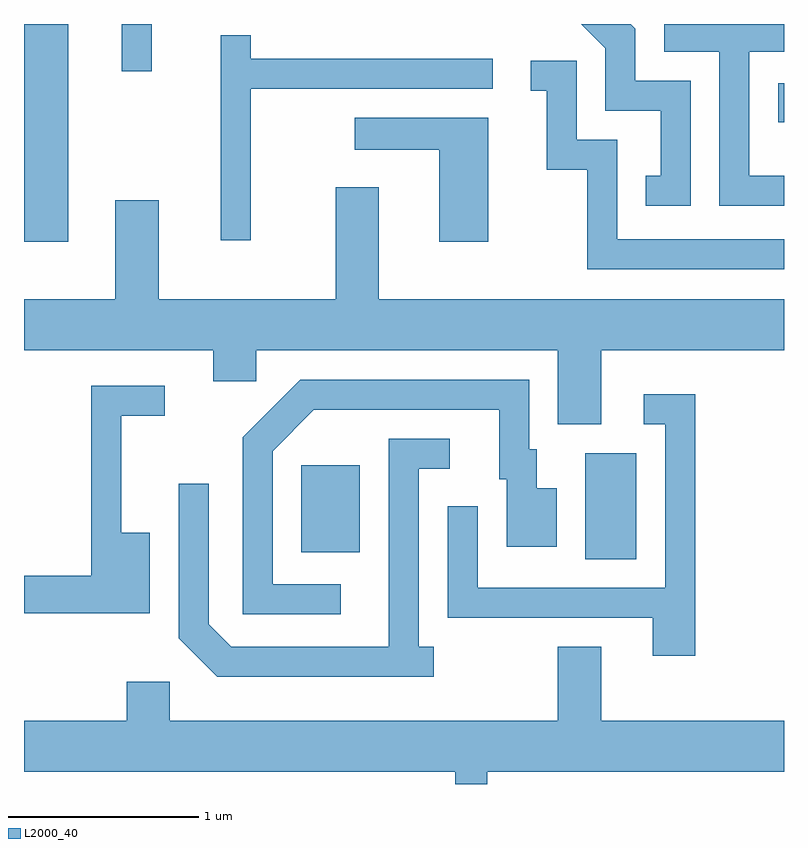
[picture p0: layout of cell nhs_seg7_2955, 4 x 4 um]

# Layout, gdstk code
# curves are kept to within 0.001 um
import gdstk
lib = gdstk.Library(unit=1e-6, precision=1e-09)
def R(c, l, rs):  # rectangles x0, y0, x1, y1
    for r in rs: c.add(gdstk.rectangle(r[:2], r[2:], *l))
def P(c, l, *ps):  # polygons
    for p in ps: c.add(gdstk.Polygon(p, *l))
L2000_40 = (2000, 40)

nhs_seg7_2955 = lib.new_cell('nhs_seg7_2955')
R(nhs_seg7_2955, L2000_40, [(278.566,1715.436,278.834,1715.994), (277.071,1715.471,277.379,1715.929), (275.611,1717.106,275.844,1718.252), (279.581,1717.736,279.611,1717.939), (276.126,1718.003,276.284,1718.252)])
P(nhs_seg7_2955, L2000_40, [(279.119,1717.954),(278.829,1717.954),(278.829,1718.227),(278.804,1718.252),(277.061,1718.252),(278.544,1718.251),(278.671,1718.124),(278.671,1717.796),(278.961,1717.796),(278.961,1717.454),(278.883,1717.454),(278.883,1717.296),(279.119,1717.296)],
  [(279.611,1717.454),(279.429,1717.454),(279.429,1718.106),(279.611,1718.106),(279.611,1718.252),(278.981,1718.252),(278.981,1718.106),(279.271,1718.106),(279.271,1717.296),(279.611,1717.296)],
  [(276.804,1717.911),(278.078,1717.911),(278.078,1718.069),(276.804,1718.069),(276.804,1718.193),(276.646,1718.193),(276.646,1717.113),(276.804,1717.113)],
  [(279.611,1717.119),(278.734,1717.119),(278.734,1717.644),(278.519,1717.644),(278.519,1718.059),(278.278,1718.059),(278.278,1717.901),(278.361,1717.901),(278.361,1717.486),(278.576,1717.486),(278.576,1716.961),(279.611,1716.961)],
  [(278.054,1717.759),(277.353,1717.759),(277.353,1717.591),(277.796,1717.591),(277.796,1717.106),(278.054,1717.106)],
  [(278.649,1716.536),(279.611,1716.536),(279.611,1716.804),(277.479,1716.804),(277.479,1717.394),(277.251,1717.394),(277.251,1716.804),(276.319,1716.804),(276.319,1717.324),(276.091,1717.324),(276.091,1716.804),(275.611,1716.804),(275.611,1716.536),(276.606,1716.536),(276.606,1716.371),(276.834,1716.371),(276.834,1716.536),(278.421,1716.536),(278.421,1716.146),(278.649,1716.146)],
  [(277.278,1715.304),(276.919,1715.304),(276.919,1716.004),(277.137,1716.221),(278.111,1716.221),(278.111,1715.856),(278.151,1715.856),(278.151,1715.501),(278.414,1715.501),(278.414,1715.809),(278.309,1715.809),(278.309,1716.014),(278.269,1716.014),(278.269,1716.379),(277.064,1716.379),(276.761,1716.077),(276.761,1715.146),(277.278,1715.146)],
  [(276.274,1715.574),(276.124,1715.574),(276.124,1716.191),(276.353,1716.191),(276.353,1716.349),(275.966,1716.349),(275.966,1715.349),(275.611,1715.349),(275.611,1715.151),(276.274,1715.151)],
  [(279.144,1716.304),(278.873,1716.304),(278.873,1716.146),(278.986,1716.146),(278.986,1715.284),(277.999,1715.284),(277.999,1715.713),(277.841,1715.713),(277.841,1715.126),(278.921,1715.126),(278.921,1714.926),(279.144,1714.926)],
  [(277.768,1714.974),(277.689,1714.974),(277.689,1715.911),(277.853,1715.911),(277.853,1716.069),(277.531,1716.069),(277.531,1714.974),(276.702,1714.974),(276.584,1715.092),(276.584,1715.833),(276.426,1715.833),(276.426,1715.019),(276.629,1714.816),(277.768,1714.816)],
  [(276.379,1714.789),(276.151,1714.789),(276.151,1714.584),(275.611,1714.584),(275.611,1714.316),(277.881,1714.316),(277.881,1714.252),(278.049,1714.252),(278.049,1714.316),(279.611,1714.316),(279.611,1714.584),(278.649,1714.584),(278.649,1714.974),(278.421,1714.974),(278.421,1714.584),(276.379,1714.584)])

lib.write_gds('nhs_seg7_2955.gds')
